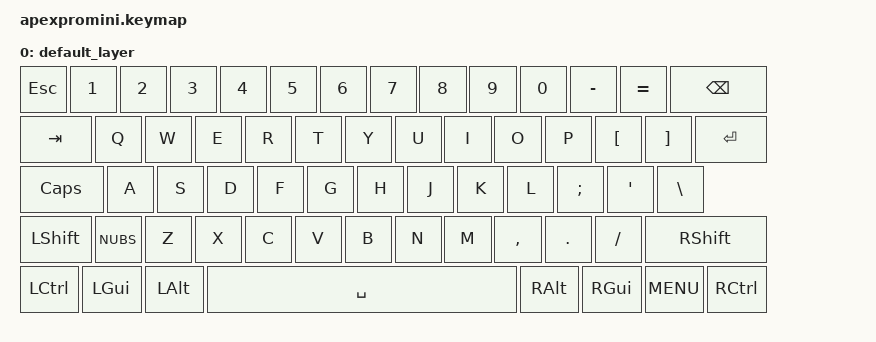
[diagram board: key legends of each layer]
/*
 * Copyright (c) 2020 The ZMK Contributors
 *
 * SPDX-License-Identifier: MIT
 */

#undef ZMK_BEHAVIORS_KEEP_ALL

#include <behaviors.dtsi>
#include <dt-bindings/zmk/keys.h>

/ {
    keymap {
        compatible = "zmk,keymap";

        default_layer {
            bindings = <
&kp ESC &kp N1 &kp N2 &kp N3 &kp N4 &kp N5 &kp N6 &kp N7 &kp N8 &kp N9 &kp N0 &kp MINUS &kp EQUAL &kp BACKSPACE
&kp TAB &kp Q &kp W &kp E &kp R &kp T &kp Y &kp U &kp I &kp O &kp P &kp LBKT &kp RBKT &kp ENTER
&kp CAPS &kp A &kp S &kp D &kp F &kp G &kp H &kp J &kp K &kp L &kp SEMICOLON &kp APOSTROPHE &kp BACKSLASH
&kp LSHFT &kp NUBS &kp Z &kp X &kp C &kp V &kp B &kp N &kp M &kp COMMA &kp DOT &kp SLASH &kp RSHFT
&kp LCTRL &kp LGUI &kp LALT &kp SPACE &kp RALT &kp RGUI &kp C_MENU &kp RCTRL
            >;
        };
    };
};

